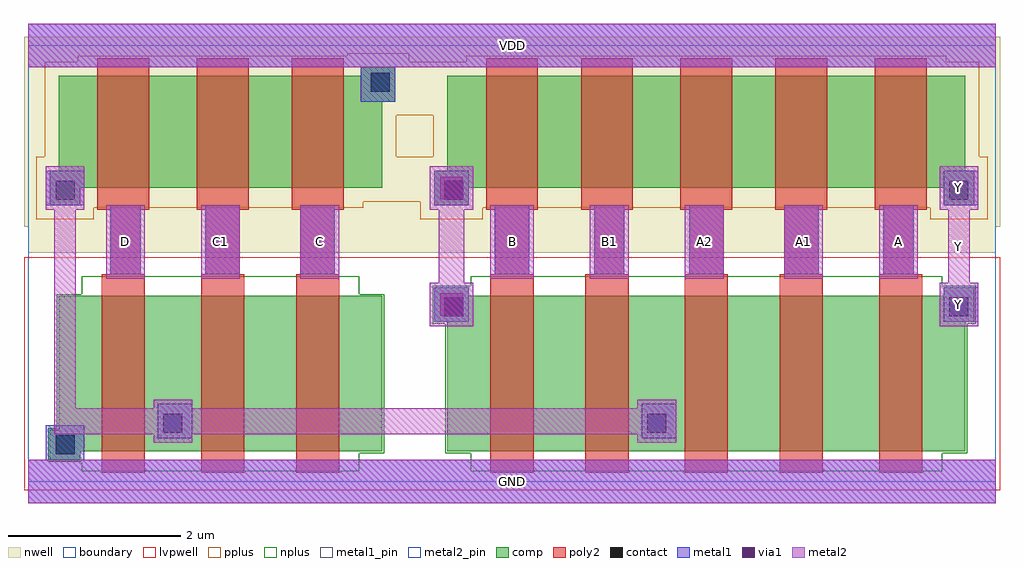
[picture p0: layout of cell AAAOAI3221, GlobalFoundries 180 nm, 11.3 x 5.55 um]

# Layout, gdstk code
import gdstk
lib = gdstk.Library(unit=1e-6, precision=1e-09)
def R(c, l, rs):  # rectangles x0, y0, x1, y1
    for r in rs: c.add(gdstk.rectangle(r[:2], r[2:], *l))
def A(c, l, x, y, w, h, nx, ny, dx, dy):  # array of equal rectangles
    R(c, l, [(x+i*dx, y+j*dy, x+i*dx+w, y+j*dy+h) for i in range(nx) for j in range(ny)])
boundary = (0, 0)
nwell = (21, 0)
comp = (22, 0)
poly2 = (30, 0)
pplus = (31, 0)
nplus = (32, 0)
contact = (33, 0)
metal1 = (34, 0)
metal1_pin = (34, 10)
via1 = (35, 0)
metal2 = (36, 0)
metal2_pin = (36, 10)
lvpwell = (204, 0)

aaaoai3221 = lib.new_cell('AAAOAI3221')
R(aaaoai3221, boundary, [(0,0,11.2,5.05)])
R(aaaoai3221, nwell, [(0,2.65,11.2,2.95), (-0.05,2.95,11.25,5.15)])
R(aaaoai3221, comp, [(0.25,0.25,0.6,0.35), (0.25,0.35,4.1,0.6), (4.85,0.35,10.85,1.85), (0.35,0.6,4.1,2.15), (4.7,1.85,10.95,2.15), (4.7,2.15,5.1,2.25), (10.6,2.15,10.95,2.25), (0.25,3.2,0.6,3.4), (4.7,3.2,5.1,3.4), (10.6,3.2,10.95,3.4), (0.25,3.4,4.1,3.6), (4.7,3.4,10.95,3.6), (0.35,3.6,4.1,4.4), (4.85,3.6,10.85,4.7), (0.35,4.4,4.25,4.7), (3.85,4.7,4.25,4.8)])
A(aaaoai3221, poly2, 3.15, 2.4, 0.4, 0.75, 3, 1, 2.25, 0)
R(aaaoai3221, poly2, [(0.85,0.1,1.35,2.4), (2,0.1,2.5,2.4), (3.1,0.1,3.6,2.4), (5.35,0.1,5.85,2.4), (6.45,0.1,6.95,2.4), (7.6,0.1,8.1,2.4), (8.7,0.1,9.2,2.4), (9.85,0.1,10.35,2.4), (0.95,2.4,1.3,3.15), (2.05,2.4,2.45,3.15), (6.55,2.4,6.9,3.15), (8.75,2.4,9.15,3.15), (9.9,2.4,10.25,3.15), (0.8,3.15,1.4,4.9), (1.95,3.15,2.55,4.9), (3.05,3.15,3.65,4.9), (5.3,3.15,5.9,4.9), (6.4,3.15,7,4.9), (7.55,3.15,8.15,4.9), (8.65,3.15,9.25,4.9), (9.8,3.15,10.4,4.9)])
R(aaaoai3221, pplus, [(0.09,3.04,0.76,3.17), (4.54,3.04,5.26,3.17), (10.44,3.04,11.11,3.17), (0.09,3.17,3.88,3.24), (4.54,3.17,11.11,3.24), (0.09,3.24,11.11,3.76), (0.19,3.76,4.26,4.24), (4.69,3.76,11.01,4.24), (0.19,4.24,11.01,4.86), (0.57,4.86,4.41,4.93), (5.07,4.86,10.63,4.93), (3.69,4.93,4.41,4.96)])
R(aaaoai3221, nplus, [(0.62,0.12,3.83,0.23), (5.12,0.12,10.58,0.33), (0.23,0.23,3.83,0.33), (0.23,0.33,4.12,0.62), (4.83,0.33,10.87,1.83), (0.33,0.62,4.12,2.17), (4.68,1.83,10.97,2.27), (0.62,2.17,3.83,2.38), (5.12,2.27,10.58,2.38)])
R(aaaoai3221, contact, [(0.315,0.315,0.535,0.535), (1.565,0.565,1.785,0.785), (7.165,0.565,7.385,0.785), (4.815,1.915,5.035,2.135), (10.665,1.915,10.885,2.135), (0.315,3.265,0.535,3.485), (4.815,3.265,5.035,3.485), (10.665,3.265,10.885,3.485), (3.965,4.515,4.185,4.735)])
A(aaaoai3221, metal1, 3.15, 2.4, 0.4, 0.8, 3, 1, 2.25, 0)
R(aaaoai3221, metal1, [(0,-0.25,11.2,0.25), (0.2,0.25,0.65,0.65), (1.5,0.5,1.9,0.9), (7.1,0.5,7.5,0.9), (4.7,1.85,5.1,2.25), (10.6,1.85,11,2.25), (0.95,2.4,1.3,3.2), (2.05,2.4,2.45,3.2), (6.55,2.4,6.9,3.2), (8.75,2.4,9.15,3.2), (9.9,2.4,10.25,3.2), (0.2,3.2,0.65,3.6), (4.7,3.2,5.1,3.6), (10.6,3.2,11,3.6), (3.85,4.4,4.25,4.8), (0,4.8,11.2,5.3)])
R(aaaoai3221, metal1_pin, [(0,-0.25,11.2,0.25), (0,4.8,11.2,5.3)])
R(aaaoai3221, via1, [(4.77,1.92,5.03,2.18), (4.77,3.27,5.03,3.53)])
R(aaaoai3221, metal2, [(0,-0.25,11.2,0.25), (1.45,0.45,1.9,0.55), (7.05,0.45,7.5,0.55), (0.3,0.55,7.5,0.85), (0.3,0.85,0.55,3.15), (1.45,0.85,1.9,0.95), (7.05,0.85,7.5,0.95), (4.65,1.8,5.15,2.3), (10.55,1.8,11,2.3), (4.75,2.3,5.05,3.15), (10.65,2.3,10.9,3.15), (0.9,2.35,1.35,3.2), (2,2.35,2.45,3.2), (3.15,2.35,3.6,3.2), (5.35,2.35,5.85,3.2), (6.5,2.35,6.95,3.2), (7.6,2.35,8.05,3.2), (8.75,2.35,9.2,3.2), (9.85,2.35,10.3,3.2), (0.2,3.15,0.65,3.65), (4.65,3.15,5.15,3.65), (10.55,3.15,11,3.65), (0,4.8,11.2,5.3)])
R(aaaoai3221, metal2_pin, [(10.55,1.8,11,2.3), (10.65,2.3,10.9,3.15), (0.9,2.35,1.35,3.2), (2,2.35,2.45,3.2), (3.15,2.35,3.6,3.2), (5.35,2.35,5.85,3.2), (6.5,2.35,6.95,3.2), (7.6,2.35,8.05,3.2), (8.75,2.35,9.2,3.2), (9.85,2.35,10.3,3.2), (10.55,3.15,11,3.65)])
R(aaaoai3221, lvpwell, [(-0.05,-0.1,11.25,2.6)])
aaaoai3221.add(gdstk.Label('VDD', (5.6,5.05), layer=34, texttype=10))
aaaoai3221.add(gdstk.Label('GND', (5.6,0), layer=34, texttype=10))
aaaoai3221.add(gdstk.Label('Y', (10.775,2.05), layer=36, texttype=10))
aaaoai3221.add(gdstk.Label('Y', (10.775,2.725), layer=36, texttype=10))
aaaoai3221.add(gdstk.Label('Y', (10.775,3.4), layer=36, texttype=10))
aaaoai3221.add(gdstk.Label('A2', (7.825,2.775), layer=36, texttype=10))
aaaoai3221.add(gdstk.Label('A', (10.075,2.775), layer=36, texttype=10))
aaaoai3221.add(gdstk.Label('C', (3.375,2.775), layer=36, texttype=10))
aaaoai3221.add(gdstk.Label('B1', (6.725,2.775), layer=36, texttype=10))
aaaoai3221.add(gdstk.Label('A1', (8.975,2.775), layer=36, texttype=10))
aaaoai3221.add(gdstk.Label('C1', (2.225,2.775), layer=36, texttype=10))
aaaoai3221.add(gdstk.Label('B', (5.6,2.775), layer=36, texttype=10))
aaaoai3221.add(gdstk.Label('D', (1.125,2.775), layer=36, texttype=10))

lib.write_gds('AAAOAI3221.gds')
